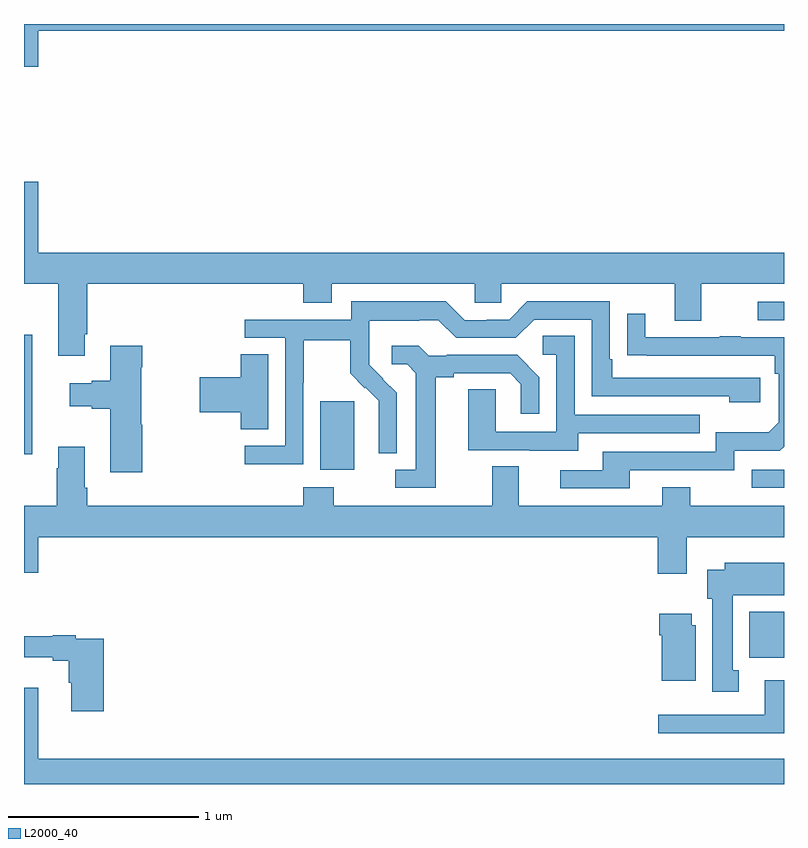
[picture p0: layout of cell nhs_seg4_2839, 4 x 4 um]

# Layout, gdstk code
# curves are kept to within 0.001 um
import gdstk
lib = gdstk.Library(unit=1e-6, precision=1e-09)
def R(c, l, rs):  # rectangles x0, y0, x1, y1
    for r in rs: c.add(gdstk.rectangle(r[:2], r[2:], *l))
def P(c, l, *ps):  # polygons
    for p in ps: c.add(gdstk.Polygon(p, *l))
L2000_40 = (2000, 40)

nhs_seg4_2839 = lib.new_cell('nhs_seg4_2839')
R(nhs_seg4_2839, L2000_40, [(264.818,749.564,265,749.806), (264.831,750.459,265,750.555), (262.559,750.554,262.738,750.915), (261,750.635,261.044,751.264), (264.861,751.341,265,751.437)])
P(nhs_seg4_2839, L2000_40, [(261.076,752.864),(265,752.864),(265,752.9),(261,752.9),(261,752.676),(261.076,752.676)],
  [(261.319,751.267),(261.332,751.267),(261.332,751.532),(262.469,751.532),(262.469,751.433),(262.621,751.433),(262.621,751.532),(263.373,751.532),(263.373,751.434),(263.511,751.434),(263.511,751.532),(264.425,751.532),(264.425,751.338),(264.565,751.338),(264.565,751.532),(265,751.532),(265,751.696),(261.076,751.696),(261.076,752.071),(261,752.071),(261,751.532),(261.179,751.532),(261.179,751.155),(261.319,751.155)],
  [(262.47,751.012),(262.473,751.012),(262.473,751.236),(262.717,751.236),(262.717,751.061),(262.794,750.984),(262.797,750.987),(262.868,750.917),(262.868,750.794),(262.866,750.794),(262.866,750.64),(262.962,750.64),(262.962,750.958),(262.816,751.106),(262.816,751.203),(262.818,751.203),(262.818,751.337),(263.081,751.337),(263.081,751.341),(263.181,751.341),(263.274,751.248),(263.589,751.248),(263.685,751.344),(263.988,751.344),(263.988,750.942),(264.713,750.942),(264.713,750.908),(264.874,750.908),(264.874,751.038),(264.097,751.038),(264.097,751.135),(264.084,751.135),(264.084,751.44),(263.649,751.44),(263.553,751.344),(263.435,751.344),(263.435,751.341),(263.319,751.341),(263.219,751.441),(262.722,751.441),(262.722,751.344),(262.161,751.344),(262.161,751.248),(262.374,751.248),(262.374,750.681),(262.161,750.681),(262.161,750.583),(262.47,750.583)],
  [(264.187,750.552),(264.738,750.552),(264.738,750.654),(264.978,750.654),(265,750.676),(265,751.251),(264.773,751.251),(264.773,751.256),(264.661,751.256),(264.661,751.251),(264.271,751.251),(264.271,751.375),(264.175,751.375),(264.175,751.156),(264.952,751.155),(264.952,751.058),(264.972,751.058),(264.972,750.804),(264.919,750.751),(264.642,750.751),(264.642,750.648),(264.047,750.648),(264.047,750.552),(263.823,750.552),(263.823,750.456),(264.187,750.456)],
  [(263.917,750.747),(264.557,750.747),(264.557,750.843),(263.898,750.843),(263.898,751.259),(263.73,751.259),(263.73,751.158),(263.802,751.158),(263.802,750.753),(263.484,750.753),(263.484,750.977),(263.339,750.977),(263.339,750.657),(263.663,750.657),(263.663,750.653),(263.917,750.653)],
  [(261.623,750.791),(261.618,750.791),(261.618,751.094),(261.623,751.094),(261.623,751.207),(261.455,751.207),(261.455,751.022),(261.356,751.022),(261.356,751.009),(261.24,751.009),(261.24,750.887),(261.356,750.887),(261.356,750.875),(261.455,750.875),(261.455,750.54),(261.623,750.54)],
  [(263.167,751.04),(263.263,751.04),(263.263,751.062),(263.558,751.062),(263.615,751.005),(263.615,750.849),(263.712,750.849),(263.712,751.042),(263.596,751.158),(263.224,751.158),(263.224,751.155),(263.13,751.155),(263.078,751.207),(262.935,751.207),(262.935,751.11),(263.016,751.11),(263.063,751.063),(263.063,750.555),(262.953,750.555),(262.953,750.459),(263.167,750.459)],
  [(262.285,751.163),(262.142,751.163),(262.142,751.04),(261.924,751.04),(261.924,750.857),(262.142,750.857),(262.142,750.766),(262.285,750.766)],
  [(264.487,750.2),(265,750.2),(265,750.364),(264.507,750.364),(264.507,750.463),(264.359,750.463),(264.359,750.364),(263.605,750.364),(263.605,750.572),(263.465,750.572),(263.465,750.364),(262.629,750.364),(262.629,750.463),(262.469,750.463),(262.469,750.364),(261.332,750.364),(261.332,750.46),(261.319,750.46),(261.319,750.676),(261.179,750.676),(261.179,750.563),(261.172,750.563),(261.172,750.364),(261,750.364),(261,750.012),(261.076,750.012),(261.076,750.2),(264.335,750.2),(264.335,750.006),(264.487,750.006)],
  [(264.763,749.498),(264.73,749.498),(264.73,749.894),(265,749.894),(265,750.064),(264.689,750.064),(264.689,750.028),(264.596,750.028),(264.596,749.874),(264.623,749.874),(264.623,749.385),(264.763,749.385)],
  [(264.535,749.736),(264.514,749.736),(264.514,749.797),(264.344,749.797),(264.344,749.684),(264.356,749.684),(264.356,749.444),(264.535,749.444)],
  [(261.419,749.664),(261.272,749.664),(261.272,749.684),(261.152,749.684),(261.152,749.677),(261,749.677),(261,749.567),(261.152,749.567),(261.152,749.548),(261.236,749.548),(261.236,749.433),(261.248,749.433),(261.248,749.283),(261.419,749.283)],
  [(265,749.446),(264.899,749.446),(264.899,749.265),(264.339,749.265),(264.339,749.168),(265,749.168)],
  [(265,749.032),(261.076,749.032),(261.076,749.407),(261,749.407),(261,748.9),(265,748.9)])

lib.write_gds('nhs_seg4_2839.gds')
